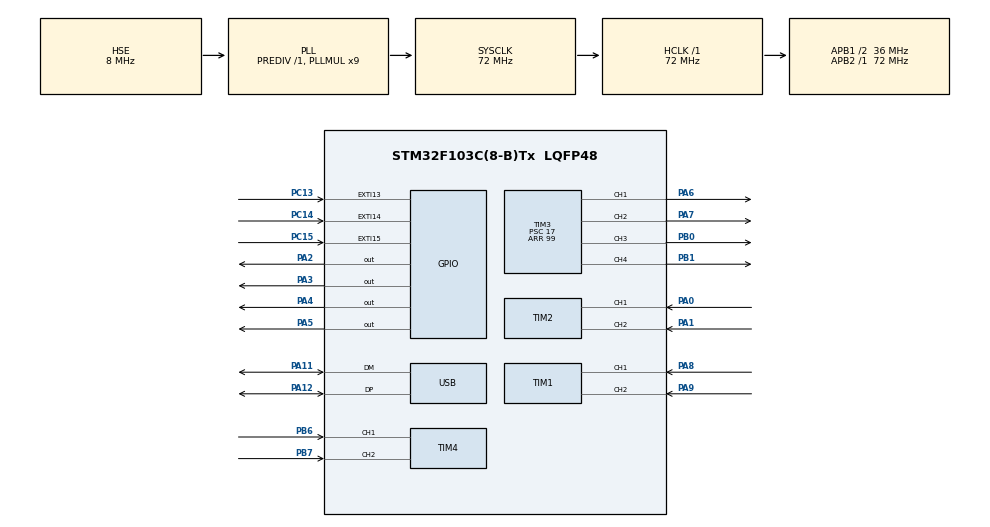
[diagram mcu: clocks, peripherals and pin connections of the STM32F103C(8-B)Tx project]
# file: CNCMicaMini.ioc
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Mcu.Family=STM32F1
Mcu.Name=STM32F103C(8-B)Tx
Mcu.Package=LQFP48
NVIC.EXTI15_10_IRQn=true\:0\:0\:false\:false\:true\:true\:true
NVIC.PriorityGroup=NVIC_PRIORITYGROUP_4
NVIC.USB_LP_CAN1_RX0_IRQn=true\:0\:0\:false\:false\:true\:false\:true
PA0-WKUP.Signal=S_TIM2_CH1_ETR
PA1.Signal=S_TIM2_CH2
PA11.Mode=Device
PA11.Signal=USB_DM
PA12.Mode=Device
PA12.Signal=USB_DP
PA13.Mode=Serial_Wire
PA13.Signal=SYS_JTMS-SWDIO
PA14.Mode=Serial_Wire
PA14.Signal=SYS_JTCK-SWCLK
PA2.Signal=GPIO_Output
PA3.Signal=GPIO_Output
PA4.Signal=GPIO_Output
PA5.Signal=GPIO_Output
PA6.Signal=S_TIM3_CH1
PA7.Signal=S_TIM3_CH2
PA8.Signal=S_TIM1_CH1
PA9.Signal=S_TIM1_CH2
PB0.Signal=S_TIM3_CH3
PB1.Signal=S_TIM3_CH4
PB6.Signal=S_TIM4_CH1
PB7.Signal=S_TIM4_CH2
PC13-TAMPER-RTC.GPIO_ModeDefaultEXTI=GPIO_MODE_IT_FALLING
PC13-TAMPER-RTC.GPIO_PuPd=GPIO_PULLUP
PC13-TAMPER-RTC.Signal=GPXTI13
PC14-OSC32_IN.GPIO_ModeDefaultEXTI=GPIO_MODE_IT_FALLING
PC14-OSC32_IN.GPIO_PuPd=GPIO_PULLUP
PC14-OSC32_IN.Signal=GPXTI14
PC15-OSC32_OUT.GPIO_ModeDefaultEXTI=GPIO_MODE_IT_FALLING
PC15-OSC32_OUT.GPIO_PuPd=GPIO_PULLUP
PC15-OSC32_OUT.Signal=GPXTI15
PD0-OSC_IN.Mode=HSE-External-Oscillator
PD0-OSC_IN.Signal=RCC_OSC_IN
PD1-OSC_OUT.Mode=HSE-External-Oscillator
PD1-OSC_OUT.Signal=RCC_OSC_OUT
ProjectManager.HeapSize=0x200
ProjectManager.StackSize=0x400
ProjectManager.TargetToolchain=MDK-ARM V5.27
RCC.AHBFreq_Value=72000000
RCC.APB1CLKDivider=RCC_HCLK_DIV2
RCC.APB1Freq_Value=36000000
RCC.APB1TimFreq_Value=72000000
RCC.APB2Freq_Value=72000000
RCC.APB2TimFreq_Value=72000000
RCC.HCLKFreq_Value=72000000
RCC.PLLMUL=RCC_PLL_MUL9
RCC.SYSCLKFreq_VALUE=72000000
RCC.SYSCLKSource=RCC_SYSCLKSOURCE_PLLCLK
RCC.USBFreq_Value=48000000
RCC.USBPrescaler=RCC_USBCLKSOURCE_PLL_DIV1_5
SH.S_TIM1_CH1.0=TIM1_CH1,Encoder_Interface
SH.S_TIM1_CH2.0=TIM1_CH2,Encoder_Interface
SH.S_TIM2_CH1_ETR.0=TIM2_CH1,Encoder_Interface
SH.S_TIM2_CH2.0=TIM2_CH2,Encoder_Interface
SH.S_TIM3_CH1.0=TIM3_CH1,PWM Generation1 CH1
SH.S_TIM3_CH2.0=TIM3_CH2,PWM Generation2 CH2
SH.S_TIM3_CH3.0=TIM3_CH3,PWM Generation3 CH3
SH.S_TIM3_CH4.0=TIM3_CH4,PWM Generation4 CH4
SH.S_TIM4_CH1.0=TIM4_CH1,Encoder_Interface
SH.S_TIM4_CH2.0=TIM4_CH2,Encoder_Interface
TIM1.EncoderMode=TIM_ENCODERMODE_TI12
TIM2.EncoderMode=TIM_ENCODERMODE_TI12
TIM3.AutoReloadPreload=TIM_AUTORELOAD_PRELOAD_DISABLE
TIM3.Channel-PWM\ Generation1\ CH1=TIM_CHANNEL_1
TIM3.Channel-PWM\ Generation2\ CH2=TIM_CHANNEL_2
TIM3.Channel-PWM\ Generation3\ CH3=TIM_CHANNEL_3
TIM3.Channel-PWM\ Generation4\ CH4=TIM_CHANNEL_4
TIM3.Period=99
TIM3.Prescaler=17
TIM4.EncoderMode=TIM_ENCODERMODE_TI12
USB_DEVICE.CLASS_NAME_FS=CUSTOM_HID
USB_DEVICE.PID_CUSTOMHID_FS=22370
USB_DEVICE.PRODUCT_STRING_CUSTOMHID_FS=CNCMica
USB_DEVICE.USBD_CUSTOMHID_OUTREPORT_BUF_SIZE=64
USB_DEVICE.USBD_CUSTOM_HID_REPORT_DESC_SIZE=28
USB_DEVICE.VID=1115
USB_DEVICE.VirtualMode=CustomHid
USB_DEVICE.VirtualModeFS=Custom_Hid_FS
VP_TIM3_VS_ClockSourceINT.Mode=Internal
VP_USB_DEVICE_VS_USB_DEVICE_CUSTOM_HID_FS.Mode=CUSTOM_HID_FS
board=custom

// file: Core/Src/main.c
/* USER CODE BEGIN Header */
/**
  ******************************************************************************
  * @file           : main.c
  * @brief          : Main program body
  ******************************************************************************
  * @attention
  *
  * Copyright (c) 2022 STMicroelectronics.
  * All rights reserved.
  *
  * This software is licensed under terms that can be found in the LICENSE file
  * in the root directory of this software component.
  * If no LICENSE file comes with this software, it is provided AS-IS.
  *
  ******************************************************************************
  */
/* USER CODE END Header */
#include "main.h"
#include "usb_device.h"

/* USER CODE BEGIN Includes */
#include "usbd_customhid.h"
#include "usbd_custom_hid_if.h"
#include <stdbool.h>

/* USER CODE END Includes */

/* USER CODE BEGIN PTD */
enum
{
	Idle = 0,
	Gcode,
	Home,
	Calib,
	Drill,
	Home_1cm
}CNC_Mode_main;
/* USER CODE END PTD */

/* USER CODE BEGIN PD */

#define TS 0.03
/* USER CODE END PD */

TIM_HandleTypeDef htim1;
TIM_HandleTypeDef htim2;
TIM_HandleTypeDef htim3;
TIM_HandleTypeDef htim4;

/* USER CODE BEGIN PV */

AXIS x_axis;
AXIS y_axis;
AXIS z_axis;

uint8_t process_mode = Idle;
float thickness = 0;
float I;
float J;

bool drill_status = false;

DATA data;

extern USBD_HandleTypeDef hUsbDeviceFS;
extern uint8_t _cncState;

/* USER CODE END PV */

void SystemClock_Config(void);
static void MX_GPIO_Init(void);
static void MX_TIM1_Init(void);
static void MX_TIM3_Init(void);
static void MX_TIM2_Init(void);
static void MX_TIM4_Init(void);
/* USER CODE BEGIN PFP */

void axisInit(void);
//void drawLine(AXIS *pXAxis, AXIS *pYAxis, DATA *pdata,USBD_HandleTypeDef *usbd );
//void move(AXIS *axis, float pos);

/* USER CODE END PFP */

/* USER CODE BEGIN 0 */

// Interupt
void HAL_GPIO_EXTI_Callback(uint16_t GPIO_Pin)
{
  UNUSED(GPIO_Pin);
	// X Home
	if( GPIO_Pin == GPIO_PIN_13)
	{
		x_axis.pwm = 0;
		PWM(&x_axis);
		x_axis.home = true;
	}
	// Y Home
	if( GPIO_Pin == GPIO_PIN_14)
	{
		y_axis.pwm = 0;
		PWM(&y_axis);
		y_axis.home = true;
	}
	// Z Home
	if( GPIO_Pin == GPIO_PIN_15)
	{
		z_axis.pwm = 0;
		PWM(&z_axis);
		z_axis.home = true;
	}
}

// Function
void axisInit()
{
	x_axis.htim_motor = &htim3;
	y_axis.htim_motor = &htim3;
	z_axis.htim_motor = &htim3;

	x_axis.htim_enc = &htim1;
	y_axis.htim_enc = &htim2;
	z_axis.htim_enc = &htim4;

	x_axis.GPIO_DIR = GPIOA;
	y_axis.GPIO_DIR = GPIOA;
	z_axis.GPIO_DIR = GPIOA;

	x_axis.PIN_DIR = GPIO_PIN_2;
	y_axis.PIN_DIR = GPIO_PIN_3;
	z_axis.PIN_DIR = GPIO_PIN_4;

	x_axis.CHANNEL = TIM_CHANNEL_4;
	y_axis.CHANNEL = TIM_CHANNEL_3;
	z_axis.CHANNEL = TIM_CHANNEL_2;

	x_axis.GPIO_HOME = GPIOC;
	y_axis.GPIO_HOME = GPIOC;
	z_axis.GPIO_HOME = GPIOC;

	x_axis.PIN_HOME = GPIO_PIN_13;
	y_axis.PIN_HOME = GPIO_PIN_14;
	z_axis.PIN_HOME = GPIO_PIN_15;

	x_axis.Kp = 2;
	y_axis.Kp = 20;
	z_axis.Kp = 0.7;

	x_axis.Ki = 0.0001;
	y_axis.Ki = 0.0001;
	z_axis.Ki = 0.0001;

	x_axis.Kd = 0.15;
	y_axis.Kd = 0.2;
	z_axis.Kd = 0.02;

	x_axis.mm_pulse = 249.8886;//142.8571;
	y_axis.mm_pulse = 495.1475;//333.3333;
	z_axis.mm_pulse = 500;
}
/* USER CODE END 0 */

int main(void)
{

  /* MCU Configuration--------------------------------------------------------*/

  /* Reset of all peripherals, Initializes the Flash interface and the Systick. */
  HAL_Init();

  /* Configure the system clock */
  SystemClock_Config();

  /* Initialize all configured peripherals */
  MX_GPIO_Init();
  MX_TIM1_Init();
  MX_TIM3_Init();
  MX_USB_DEVICE_Init();
  MX_TIM2_Init();
  MX_TIM4_Init();
  /* USER CODE BEGIN 2 */

	// Init axis
	axisInit();

	// Start PWM
	HAL_TIM_PWM_Start(&htim3, TIM_CHANNEL_1);
	HAL_TIM_PWM_Start(&htim3, TIM_CHANNEL_2);
	HAL_TIM_PWM_Start(&htim3, TIM_CHANNEL_3);
	HAL_TIM_PWM_Start(&htim3, TIM_CHANNEL_4);

	// Start Encoder
	HAL_TIM_Encoder_Start(&htim1, TIM_CHANNEL_1 | TIM_CHANNEL_2);
	HAL_TIM_Encoder_Start(&htim2, TIM_CHANNEL_1 | TIM_CHANNEL_2);
	HAL_TIM_Encoder_Start(&htim4, TIM_CHANNEL_1 | TIM_CHANNEL_2);

  /* USER CODE END 2 */

  /* Infinite loop */
  /* USER CODE BEGIN WHILE */
  while (1)
  {
		// mode drill control
		if(process_mode == Drill)
		{
			// avoid intterupt accident
			//x_axis.pwm = 0;
		  //PWM(&x_axis);
			//y_axis.pwm = 0;
		  //PWM(&y_axis);

			/*if( drill_status != z_axis.drill)

			{
				if(z_axis.drill)
				{
					z_axis.last = 1;
					move(&z_axis, thickness);
				}
				else
				{
					z_axis.last = 0;
					move(&z_axis, 0);
				}
				if(z_axis.finish)
				{
					z_axis.finish = false;
				  drill_status = z_axis.drill;
					HAL_Delay(200);
				}
			}
			else
				process_mode = Gcode;*/

				if(drill_status != z_axis.drill)
				{
					if(z_axis.drill)
						z_axis.next = thickness;
					else
						z_axis.next = 0;
					while(!z_axis.finish)
					{
						move(&z_axis, z_axis.next);
					}
					z_axis.finish = false;
					drill_status = z_axis.drill;
					process_mode = Gcode;
				}
				else
					process_mode = Gcode;
		}
		// mode gcode control
		if(process_mode == Gcode )
		{
			switch(_cncState)
			{
				case 0: // move x y with z up
					while(!(x_axis.finish && y_axis.finish))
					{
						move(&x_axis, x_axis.next);
				    move(&y_axis, y_axis.next);
					}
					x_axis.finish = false;
					y_axis.finish = false;
					x_axis.last = x_axis.next;
					y_axis.last = y_axis.next;
					break;

				case 1: // move x y with z down
					drawLine(&x_axis, &y_axis);
					break;

				case 2: // move x y with z down circle
					drawLine(&x_axis, &y_axis);
					break;

				case 3: // move x y wih z down circle
					drawLine(&x_axis, &y_axis);
					break;
			}
			sprintf(data.TransBuff, "ACK R %d_RESUME_X%f Y%f Z%f", data.receive, x_axis.last, y_axis.last, z_axis.next);
			data.need++;
			USBD_CUSTOM_HID_SendReport(&hUsbDeviceFS, (uint8_t *)data.TransBuff, 45); // send command resume
   		process_mode = Idle; // idle mode
		}
		// mode goto home
		if( process_mode == Home)
		{
			// goto x home
			HOME(&x_axis);

			// goto y home
			HOME(&y_axis);

			// goto z home
			HOME(&z_axis);

			if( x_axis.home && y_axis.home && z_axis.home)
			{
				x_axis.htim_enc->Instance->CNT = 0;
				y_axis.htim_enc->Instance->CNT = 0;
				z_axis.htim_enc->Instance->CNT = 0;

				x_axis.pos = 0;
				y_axis.pos = 0;
				z_axis.pos = 0;

				process_mode = Home_1cm; // to protect switch, goto home 1cm mode
			}

		}
		// home 1cm
		if( process_mode == Home_1cm)
		{
			move(&x_axis, 10);
			move(&y_axis, 10);
			move(&z_axis, 10);
			if( x_axis.finish && y_axis.finish && z_axis.finish)
			{
				x_axis.finish = false;
				y_axis.finish = false;
				z_axis.finish = false;

				x_axis.htim_enc->Instance->CNT = 0;
				y_axis.htim_enc->Instance->CNT = 0;
				z_axis.htim_enc->Instance->CNT = 0;

				x_axis.pos = 0;
				y_axis.pos = 0;
				z_axis.pos = 0;

				sprintf(data.TransBuff, "ACK H %d_HOME %f", data.receive, thickness);
				USBD_CUSTOM_HID_SendReport(&hUsbDeviceFS, (uint8_t *)data.TransBuff, 45);
				data.need++;

				process_mode = Idle;
			}
		}
    /* USER CODE END WHILE */

  }
}

void SystemClock_Config(void)
{
  RCC_OscInitTypeDef RCC_OscInitStruct = {0};
  RCC_ClkInitTypeDef RCC_ClkInitStruct = {0};
  RCC_PeriphCLKInitTypeDef PeriphClkInit = {0};

  /** Initializes the RCC Oscillators according to the specified parameters
  * in the RCC_OscInitTypeDef structure.
  */
  RCC_OscInitStruct.OscillatorType = RCC_OSCILLATORTYPE_HSE;
  RCC_OscInitStruct.HSEState = RCC_HSE_ON;
  RCC_OscInitStruct.HSEPredivValue = RCC_HSE_PREDIV_DIV1;
  RCC_OscInitStruct.HSIState = RCC_HSI_ON;
  RCC_OscInitStruct.PLL.PLLState = RCC_PLL_ON;
  RCC_OscInitStruct.PLL.PLLSource = RCC_PLLSOURCE_HSE;
  RCC_OscInitStruct.PLL.PLLMUL = RCC_PLL_MUL9;
  if (HAL_RCC_OscConfig(&RCC_OscInitStruct) != HAL_OK)
  {
    Error_Handler();
  }
  /** Initializes the CPU, AHB and APB buses clocks
  */
  RCC_ClkInitStruct.ClockType = RCC_CLOCKTYPE_HCLK|RCC_CLOCKTYPE_SYSCLK
                              |RCC_CLOCKTYPE_PCLK1|RCC_CLOCKTYPE_PCLK2;
  RCC_ClkInitStruct.SYSCLKSource = RCC_SYSCLKSOURCE_PLLCLK;
  RCC_ClkInitStruct.AHBCLKDivider = RCC_SYSCLK_DIV1;
  RCC_ClkInitStruct.APB1CLKDivider = RCC_HCLK_DIV2;
  RCC_ClkInitStruct.APB2CLKDivider = RCC_HCLK_DIV1;

  if (HAL_RCC_ClockConfig(&RCC_ClkInitStruct, FLASH_LATENCY_2) != HAL_OK)
  {
    Error_Handler();
  }
  PeriphClkInit.PeriphClockSelection = RCC_PERIPHCLK_USB;
  PeriphClkInit.UsbClockSelection = RCC_USBCLKSOURCE_PLL_DIV1_5;
  if (HAL_RCCEx_PeriphCLKConfig(&PeriphClkInit) != HAL_OK)
  {
    Error_Handler();
  }
}

static void MX_TIM1_Init(void)
{

  /* USER CODE BEGIN TIM1_Init 0 */

// XXXXXXXXXXXXXXXXXXXXXXXXXXXXXXX

  /* USER CODE END TIM1_Init 0 */

  TIM_Encoder_InitTypeDef sConfig = {0};
  TIM_MasterConfigTypeDef sMasterConfig = {0};

  htim1.Instance = TIM1;
  htim1.Init.Prescaler = 0;
  htim1.Init.CounterMode = TIM_COUNTERMODE_UP;
  htim1.Init.Period = 65535;
  htim1.Init.ClockDivision = TIM_CLOCKDIVISION_DIV1;
  htim1.Init.RepetitionCounter = 0;
  htim1.Init.AutoReloadPreload = TIM_AUTORELOAD_PRELOAD_DISABLE;
  sConfig.EncoderMode = TIM_ENCODERMODE_TI12;
  sConfig.IC1Polarity = TIM_ICPOLARITY_RISING;
  sConfig.IC1Selection = TIM_ICSELECTION_DIRECTTI;
  sConfig.IC1Prescaler = TIM_ICPSC_DIV1;
  sConfig.IC1Filter = 0;
  sConfig.IC2Polarity = TIM_ICPOLARITY_RISING;
  sConfig.IC2Selection = TIM_ICSELECTION_DIRECTTI;
  sConfig.IC2Prescaler = TIM_ICPSC_DIV1;
  sConfig.IC2Filter = 0;
  if (HAL_TIM_Encoder_Init(&htim1, &sConfig) != HAL_OK)
  {
    Error_Handler();
  }
  sMasterConfig.MasterOutputTrigger = TIM_TRGO_RESET;
  sMasterConfig.MasterSlaveMode = TIM_MASTERSLAVEMODE_DISABLE;
  if (HAL_TIMEx_MasterConfigSynchronization(&htim1, &sMasterConfig) != HAL_OK)
  {
    Error_Handler();
  }

}

static void MX_TIM2_Init(void)
{

  TIM_Encoder_InitTypeDef sConfig = {0};
  TIM_MasterConfigTypeDef sMasterConfig = {0};

  /* USER CODE BEGIN TIM2_Init 1 */

	//YYYYYYYYYYYYYYYYYYYYYYYYYYYYYYYYYYYYYYYYYYY

  /* USER CODE END TIM2_Init 1 */
  htim2.Instance = TIM2;
  htim2.Init.Prescaler = 0;
  htim2.Init.CounterMode = TIM_COUNTERMODE_UP;
  htim2.Init.Period = 65535;
  htim2.Init.ClockDivision = TIM_CLOCKDIVISION_DIV1;
  htim2.Init.AutoReloadPreload = TIM_AUTORELOAD_PRELOAD_DISABLE;
  sConfig.EncoderMode = TIM_ENCODERMODE_TI12;
  sConfig.IC1Polarity = TIM_ICPOLARITY_RISING;
  sConfig.IC1Selection = TIM_ICSELECTION_DIRECTTI;
  sConfig.IC1Prescaler = TIM_ICPSC_DIV1;
  sConfig.IC1Filter = 0;
  sConfig.IC2Polarity = TIM_ICPOLARITY_RISING;
  sConfig.IC2Selection = TIM_ICSELECTION_DIRECTTI;
  sConfig.IC2Prescaler = TIM_ICPSC_DIV1;
  sConfig.IC2Filter = 0;
  if (HAL_TIM_Encoder_Init(&htim2, &sConfig) != HAL_OK)
  {
    Error_Handler();
  }
  sMasterConfig.MasterOutputTrigger = TIM_TRGO_RESET;
  sMasterConfig.MasterSlaveMode = TIM_MASTERSLAVEMODE_DISABLE;
  if (HAL_TIMEx_MasterConfigSynchronization(&htim2, &sMasterConfig) != HAL_OK)
  {
    Error_Handler();
  }

}

static void MX_TIM3_Init(void)
{

  TIM_ClockConfigTypeDef sClockSourceConfig = {0};
  TIM_MasterConfigTypeDef sMasterConfig = {0};
  TIM_OC_InitTypeDef sConfigOC = {0};

  htim3.Instance = TIM3;
  htim3.Init.Prescaler = 29;
  htim3.Init.CounterMode = TIM_COUNTERMODE_UP;
  htim3.Init.Period = 99;
  htim3.Init.ClockDivision = TIM_CLOCKDIVISION_DIV1;
  htim3.Init.AutoReloadPreload = TIM_AUTORELOAD_PRELOAD_DISABLE;
  if (HAL_TIM_Base_Init(&htim3) != HAL_OK)
  {
    Error_Handler();
  }
  sClockSourceConfig.ClockSource = TIM_CLOCKSOURCE_INTERNAL;
  if (HAL_TIM_ConfigClockSource(&htim3, &sClockSourceConfig) != HAL_OK)
  {
    Error_Handler();
  }
  if (HAL_TIM_PWM_Init(&htim3) != HAL_OK)
  {
    Error_Handler();
  }
  sMasterConfig.MasterOutputTrigger = TIM_TRGO_RESET;
  sMasterConfig.MasterSlaveMode = TIM_MASTERSLAVEMODE_DISABLE;
  if (HAL_TIMEx_MasterConfigSynchronization(&htim3, &sMasterConfig) != HAL_OK)
  {
    Error_Handler();
  }
  sConfigOC.OCMode = TIM_OCMODE_PWM1;
  sConfigOC.Pulse = 0;
  sConfigOC.OCPolarity = TIM_OCPOLARITY_HIGH;
  sConfigOC.OCFastMode = TIM_OCFAST_DISABLE;
  if (HAL_TIM_PWM_ConfigChannel(&htim3, &sConfigOC, TIM_CHANNEL_1) != HAL_OK)
  {
    Error_Handler();
  }
  if (HAL_TIM_PWM_ConfigChannel(&htim3, &sConfigOC, TIM_CHANNEL_2) != HAL_OK)
  {
    Error_Handler();
  }
  if (HAL_TIM_PWM_ConfigChannel(&htim3, &sConfigOC, TIM_CHANNEL_3) != HAL_OK)
  {
    Error_Handler();
  }
  if (HAL_TIM_PWM_ConfigChannel(&htim3, &sConfigOC, TIM_CHANNEL_4) != HAL_OK)
  {
    Error_Handler();
  }
  HAL_TIM_MspPostInit(&htim3);

}

static void MX_TIM4_Init(void)
{

  /* USER CODE BEGIN TIM4_Init 0 */

	//ZZZZZZZZZZZZZZZZZZZZZZZZZZZZZZZZZZZZZZ

  /* USER CODE END TIM4_Init 0 */

  TIM_Encoder_InitTypeDef sConfig = {0};
  TIM_MasterConfigTypeDef sMasterConfig = {0};

  htim4.Instance = TIM4;
  htim4.Init.Prescaler = 0;
  htim4.Init.CounterMode = TIM_COUNTERMODE_UP;
  htim4.Init.Period = 65535;
  htim4.Init.ClockDivision = TIM_CLOCKDIVISION_DIV1;
  htim4.Init.AutoReloadPreload = TIM_AUTORELOAD_PRELOAD_DISABLE;
  sConfig.EncoderMode = TIM_ENCODERMODE_TI12;
  sConfig.IC1Polarity = TIM_ICPOLARITY_RISING;
  sConfig.IC1Selection = TIM_ICSELECTION_DIRECTTI;
  sConfig.IC1Prescaler = TIM_ICPSC_DIV1;
  sConfig.IC1Filter = 0;
  sConfig.IC2Polarity = TIM_ICPOLARITY_RISING;
  sConfig.IC2Selection = TIM_ICSELECTION_DIRECTTI;
  sConfig.IC2Prescaler = TIM_ICPSC_DIV1;
  sConfig.IC2Filter = 0;
  if (HAL_TIM_Encoder_Init(&htim4, &sConfig) != HAL_OK)
  {
    Error_Handler();
  }
  sMasterConfig.MasterOutputTrigger = TIM_TRGO_RESET;
  sMasterConfig.MasterSlaveMode = TIM_MASTERSLAVEMODE_DISABLE;
  if (HAL_TIMEx_MasterConfigSynchronization(&htim4, &sMasterConfig) != HAL_OK)
  {
    Error_Handler();
  }

}

static void MX_GPIO_Init(void)
{
  GPIO_InitTypeDef GPIO_InitStruct = {0};

  /* GPIO Ports Clock Enable */
  __HAL_RCC_GPIOC_CLK_ENABLE();
  __HAL_RCC_GPIOD_CLK_ENABLE();
  __HAL_RCC_GPIOA_CLK_ENABLE();
  __HAL_RCC_GPIOB_CLK_ENABLE();

  /*Configure GPIO pin Output Level */
  HAL_GPIO_WritePin(GPIOA, GPIO_PIN_2|GPIO_PIN_3|GPIO_PIN_4|GPIO_PIN_5, GPIO_PIN_RESET);

  /*Configure GPIO pins : PC13 PC14 PC15 */
  GPIO_InitStruct.Pin = GPIO_PIN_13|GPIO_PIN_14|GPIO_PIN_15;
  GPIO_InitStruct.Mode = GPIO_MODE_IT_FALLING;
  GPIO_InitStruct.Pull = GPIO_PULLUP;
  HAL_GPIO_Init(GPIOC, &GPIO_InitStruct);

  /*Configure GPIO pins : PA2 PA3 PA4 PA5 */
  GPIO_InitStruct.Pin = GPIO_PIN_2|GPIO_PIN_3|GPIO_PIN_4|GPIO_PIN_5;
  GPIO_InitStruct.Mode = GPIO_MODE_OUTPUT_PP;
  GPIO_InitStruct.Pull = GPIO_NOPULL;
  GPIO_InitStruct.Speed = GPIO_SPEED_FREQ_LOW;
  HAL_GPIO_Init(GPIOA, &GPIO_InitStruct);

  /* EXTI interrupt init*/
  HAL_NVIC_SetPriority(EXTI15_10_IRQn, 0, 0);
  HAL_NVIC_EnableIRQ(EXTI15_10_IRQn);

}

void Error_Handler(void)
{
  __disable_irq();
  while (1)
  {
  }
}
